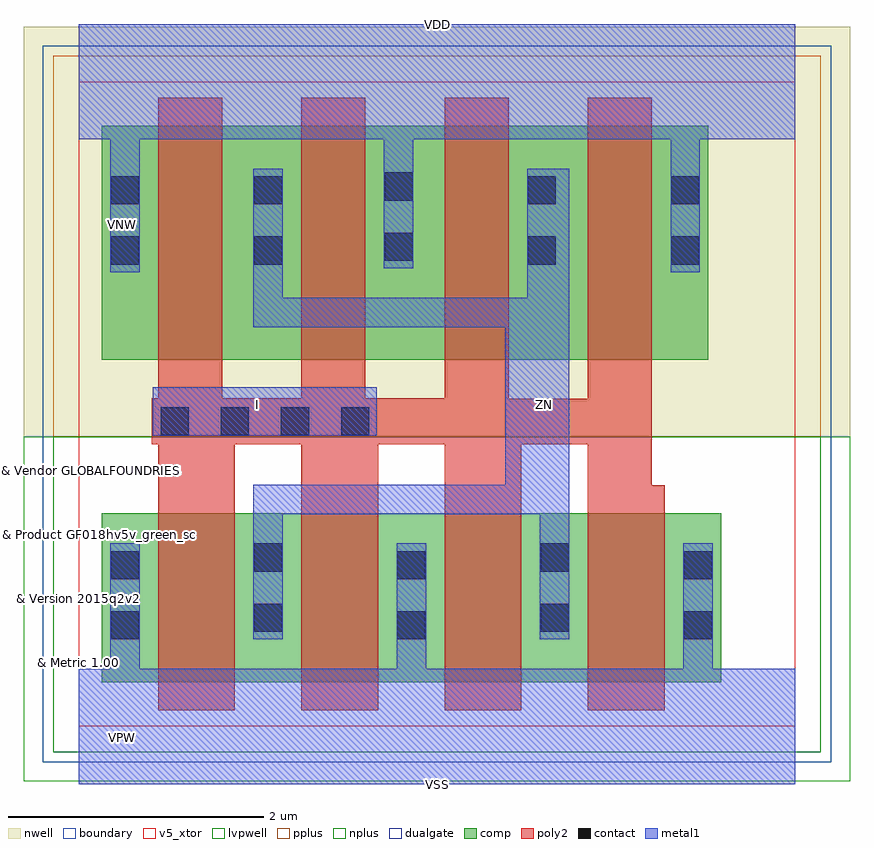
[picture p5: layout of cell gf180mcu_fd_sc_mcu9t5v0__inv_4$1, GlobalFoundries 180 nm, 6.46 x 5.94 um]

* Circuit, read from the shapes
.subckt gf180mcu_fd_sc_mcu9t5v0__inv_4$1 I VDD VNW VSS ZN
XM1 ZN I VSS VSUBS nfet_05v0 w=1.32u l=0.6u m=4
XM2 ZN I VDD VNW pfet_05v0 w=1.83u l=0.5u m=4
.ends

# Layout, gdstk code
import gdstk
lib = gdstk.Library(unit=1e-6, precision=5e-09)
def R(c, l, rs):  # rectangles x0, y0, x1, y1
    for r in rs: c.add(gdstk.rectangle(r[:2], r[2:], *l))
def A(c, l, x, y, w, h, nx, ny, dx, dy):  # array of equal rectangles
    R(c, l, [(x+i*dx, y+j*dy, x+i*dx+w, y+j*dy+h) for i in range(nx) for j in range(ny)])
def P(c, l, *ps):  # polygons
    for p in ps: c.add(gdstk.Polygon(p, *l))
boundary = (0, 0)
nwell = (21, 0)
comp = (22, 0)
poly2 = (30, 0)
pplus = (31, 0)
nplus = (32, 0)
contact = (33, 0)
metal1 = (34, 0)
dualgate = (55, 0)
v5_xtor = (112, 1)
lvpwell = (204, 0)

gf180mcu_fd_sc_mcu9t5v0_ = lib.new_cell('gf180mcu_fd_sc_mcu9t5v0__inv_4$1')
R(gf180mcu_fd_sc_mcu9t5v0_, boundary, [(0,0,5.6,5.04)])
R(gf180mcu_fd_sc_mcu9t5v0_, nwell, [(-0.43,2.265,6.03,5.47)])
R(gf180mcu_fd_sc_mcu9t5v0_, comp, [(0.18,0.345,5.02,1.665), (0.18,2.865,4.92,4.695)])
P(gf180mcu_fd_sc_mcu9t5v0_, poly2, [(0.62,0.125),(0.62,2.205),(0.57,2.205),(0.57,2.565),(0.62,2.565),(0.62,4.915),(1.12,4.915),(1.12,2.565),(1.74,2.565),(1.74,4.915),(2.24,4.915),(2.24,2.565),(2.86,2.565),(2.86,4.915),(3.36,4.915),(3.36,2.56),(3.98,2.56),(3.98,4.915),(4.48,4.915),(4.48,1.885),(4.58,1.885),(4.58,0.125),(3.98,0.125),(3.98,2.205),(3.46,2.205),(3.46,0.125),(2.86,0.125),(2.86,2.205),(2.34,2.205),(2.34,0.125),(1.74,0.125),(1.74,2.205),(1.22,2.205),(1.22,0.125)])
R(gf180mcu_fd_sc_mcu9t5v0_, pplus, [(-0.2,2.265,5.8,5.24)])
R(gf180mcu_fd_sc_mcu9t5v0_, nplus, [(-0.2,-0.2,5.8,2.265)])
A(gf180mcu_fd_sc_mcu9t5v0_, contact, 0.25, 0.68, 0.22, 0.22, 3, 2, 2.24, 0.47)
A(gf180mcu_fd_sc_mcu9t5v0_, contact, 0.64, 2.275, 0.22, 0.22, 4, 1, 0.47, 0)
R(gf180mcu_fd_sc_mcu9t5v0_, contact, [(1.37,0.74,1.59,0.96), (3.61,0.74,3.83,0.96), (1.37,1.21,1.59,1.43), (3.61,1.21,3.83,1.43), (0.25,3.61,0.47,3.83), (1.37,3.61,1.59,3.83), (3.51,3.61,3.73,3.83), (4.63,3.61,4.85,3.83), (2.39,3.64,2.61,3.86), (0.25,4.08,0.47,4.3), (1.37,4.08,1.59,4.3), (3.51,4.08,3.73,4.3), (4.63,4.08,4.85,4.3), (2.39,4.11,2.61,4.33)])
R(gf180mcu_fd_sc_mcu9t5v0_, metal1, [(0.58,2.27,2.33,2.65)])
P(gf180mcu_fd_sc_mcu9t5v0_, metal1, [(1.365,0.68),(1.365,1.89),(3.335,1.89),(3.335,3.12),(1.365,3.12),(1.365,4.36),(1.595,4.36),(1.595,3.35),(3.505,3.35),(3.505,4.36),(3.835,4.36),(3.835,0.68),(3.605,0.68),(3.605,1.66),(1.595,1.66),(1.595,0.68)],
  [(0,-0.45),(0,0.45),(0.245,0.45),(0.245,1.43),(0.475,1.43),(0.475,0.45),(2.485,0.45),(2.485,1.43),(2.715,1.43),(2.715,0.45),(4.725,0.45),(4.725,1.43),(4.955,1.43),(4.955,0.45),(5.6,0.45),(5.6,-0.45)],
  [(0.245,3.55),(0.245,4.59),(0,4.59),(0,5.49),(5.6,5.49),(5.6,4.59),(4.855,4.59),(4.855,3.55),(4.625,3.55),(4.625,4.59),(2.615,4.59),(2.615,3.58),(2.385,3.58),(2.385,4.59),(0.475,4.59),(0.475,3.55)])
R(gf180mcu_fd_sc_mcu9t5v0_, dualgate, [(-0.28,-0.28,5.88,5.32)])
R(gf180mcu_fd_sc_mcu9t5v0_, v5_xtor, [(0,0,5.6,5.04)])
R(gf180mcu_fd_sc_mcu9t5v0_, lvpwell, [(-0.43,-0.43,6.03,2.265)])
gf180mcu_fd_sc_mcu9t5v0_.add(gdstk.Label('I', (1.4,2.52), layer=34, texttype=10))
gf180mcu_fd_sc_mcu9t5v0_.add(gdstk.Label('VDD', (2.8,5.49), layer=34, texttype=10))
gf180mcu_fd_sc_mcu9t5v0_.add(gdstk.Label('VSS', (2.8,-0.45), layer=34, texttype=10))
gf180mcu_fd_sc_mcu9t5v0_.add(gdstk.Label('ZN', (3.64,2.52), layer=34, texttype=10))
gf180mcu_fd_sc_mcu9t5v0_.add(gdstk.Label('& Vendor GLOBALFOUNDRIES', (0,2), layer=63, texttype=63))
gf180mcu_fd_sc_mcu9t5v0_.add(gdstk.Label('& Product GF018hv5v_green_sc9', (0,1.5), layer=63, texttype=63))
gf180mcu_fd_sc_mcu9t5v0_.add(gdstk.Label('& Version 2015q2v2', (0,1), layer=63, texttype=63))
gf180mcu_fd_sc_mcu9t5v0_.add(gdstk.Label('& Metric 1.00', (0,0.5), layer=63, texttype=63))
gf180mcu_fd_sc_mcu9t5v0_.add(gdstk.Label('VNW', (0.345,3.92), layer=21, texttype=10))
gf180mcu_fd_sc_mcu9t5v0_.add(gdstk.Label('VPW', (0.34,-0.085), layer=204, texttype=10))

lib.write_gds('gf180mcu_fd_sc_mcu9t5v0__inv_4_1.gds')
